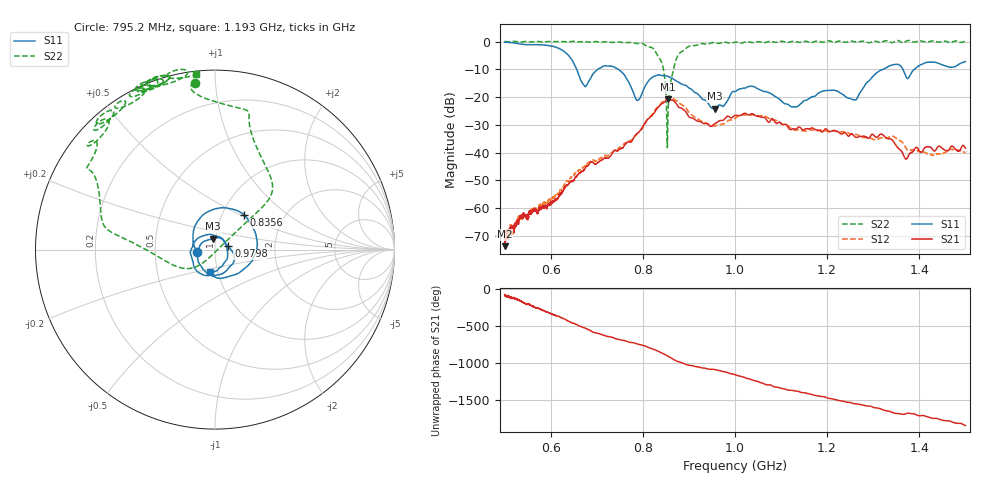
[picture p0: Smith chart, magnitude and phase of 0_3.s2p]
!Agilent Technologies,E8364B,US42250235,A.06.04.32
!Agilent E8364B: A.06.04.32
!Date: Thursday, October 01, 2020 15:37:05
!Correction: S11(Full 2 Port(1,2)) S21(Full 2 Port(1,2)) S12(Full 2 Port(1,2)) S22(Full 2 Port(1,2))
!S2P File: Measurements: S11, S21, S12, S22:
# Hz S  dB  R 50
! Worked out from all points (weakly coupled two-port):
!   2650 points, 500 MHz to 1.5 GHz, reference 50 ohm
!   highest |S21| = -20.81 dB at 855.2 MHz (marker M1); lowest = -73.8 dB at 500 MHz (marker M2)
!   lowest |S11| = -24.2 dB at 956 MHz (marker M3), VSWR 1.13, Z = 48.7 + j5.98 ohm
!   |S11| at or under -10 dB: 656.5 MHz to 701.8 MHz (45.33 MHz wide, 6.67 % of centre); 746.4 MHz to 1.321 GHz (574.7 MHz wide, 55.6 % of centre); 1.365 GHz to 1.389 GHz (24.56 MHz wide, 1.78 % of centre)
!   |S22| runs from -38.2 to 0.4 dB; largest |S21 - S12| = 0.042
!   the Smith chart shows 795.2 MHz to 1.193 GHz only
!   S11 on the Smith chart (normalised r, x): 795.2 MHz: 0.82, -0.02; 835.6 MHz: 1.27, +0.52; 979.8 MHz: 1.16, +0.04; 1.193 GHz: 0.92, -0.24
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5e8  -0.20 -175.6  -73.75 -74.8  -72.15 -83.0  0.07 144.1
6.087203e8  -1.84 111.0  -56.97 3.7  -55.83 -5.0  -0.04 129.9
6.423179e8  -5.73 70.1  -50.48 -86.1  -49.24 -85.5  -0.03 126.0
6.668554e8  -14.41 66.2  -46.82 -153.1  -45.80 -147.8  -0.02 123.8
6.940355e8  -11.29 106.4  -43.85 130.5  -42.83 145.2  0.02 119.5
7.340506e8  -8.92 54.3  -40.19 64.8  -39.84 77.4  -0.28 113.3
7.952057e8  -19.88 -173.4  -31.85 -35.8  -31.83 -17.7  -0.59 96.8
8.337108e8  -11.97 54.8  -23.62 -125.3  -23.26 -101.8  -5.46 56.9
8.355983e8  -11.97 49.7  -23.31 -130.8  -22.94 -107.1  -5.92 52.0
8.552284e8  -12.54 4.9  -20.81 164.2  -20.18 -170.8  -23.21 -128.2
8.782559e8  -14.66 -45.7  -23.72 91.8  -22.15 115.9  -4.42 169.8
9.560211e8  -24.17 98.9  -29.60 -13.2  -30.42 -0.8  -0.40 135.0
9.798037e8  -22.24 13.7  -27.41 -45.7  -29.38 -24.4  -0.21 132.1
1.000189e9  -18.00 -50.3  -26.61 -84.0  -27.65 -55.2  -0.18 122.4
1.056059e9  -17.50 -179.3  -27.15 167.6  -26.77 -161.5  -0.12 116.1
1.126652e9  -23.58 24.7  -31.41 60.4  -31.81 86.9  0.13 108.1
1.166667e9  -19.90 -68.4  -31.09 8.9  -31.85 42.6  -0.33 103.4
1.193469e9  -17.74 -102.6  -31.86 -22.0  -32.07 7.7  -0.15 96.1
1.260664e9  -21.07 -118.1  -34.40 -118.4  -33.46 -81.2  -0.11 96.5
1.333522e9  -8.82 -145.6  -35.05 141.5  -34.54 -168.7  0.11 96.6
1.371272e9  -12.71 173.8  -42.38 107.9  -38.43 123.0  0.13 74.6
1.5e9  -7.23 146.8  -38.44 -52.3  -40.04 3.0  0.24 70.7
